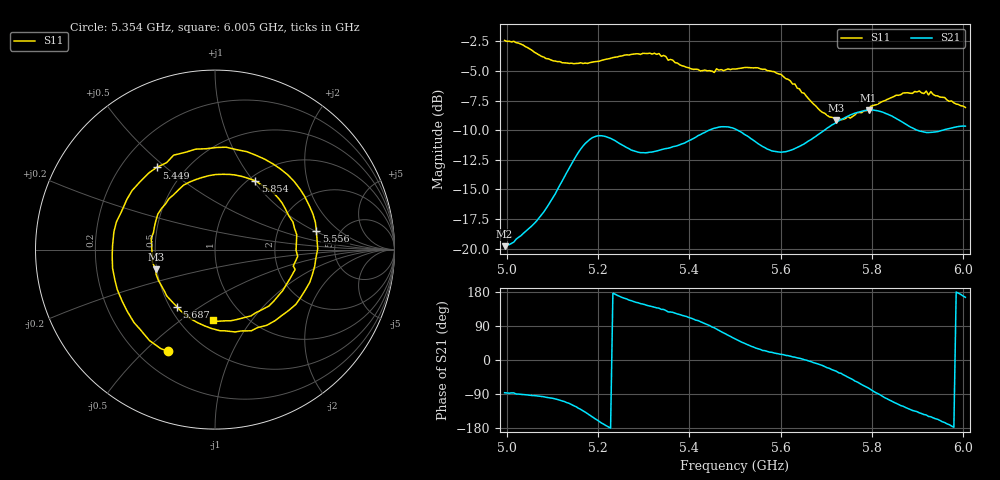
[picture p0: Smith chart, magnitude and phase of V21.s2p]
!File created by NanoVNA
# Hz S RI R 50
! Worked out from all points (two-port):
!   201 points, 4.995 GHz to 6.005 GHz, reference 50 ohm
!   highest |S21| = -8.29 dB at 5.793 GHz (marker M1); lowest = -19.8 dB at 4.995 GHz (marker M2)
!   |S21| within 3 dB of the highest: 5.375 GHz to 5.557 GHz (182.4 MHz wide, 3.34 % of centre); 5.645 GHz to end of sweep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
!   lowest |S11| = -9.2 dB at 5.722 GHz (marker M3), VSWR 2.07, Z = 24.6 - j6.14 ohm
!   |S11| at or under -10 dB: nowhere
!   S12 and S22 are empty: the file has one direction only
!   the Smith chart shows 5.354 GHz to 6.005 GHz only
!   S11 on the Smith chart (normalised r, x): 5.354 GHz: 0.32, -0.59; 5.449 GHz: 0.35, +0.47; 5.556 GHz: 3.35, +1.03; 5.687 GHz: 0.54, -0.40; 5.854 GHz: 1.07, +1.02; 6.005 GHz: 0.72, -0.67
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4.995e9  0.2168 -0.7247  0.00649 -0.1023  0 0  0 0
5.03035e9  -0.3105 -0.6609  -0.00117 -0.1133  0 0  0 0
5.0758e9  -0.6435 -0.0813  -0.0155 -0.1381  0 0  0 0
5.1263e9  -0.3462 0.5006  -0.068 -0.1898  0 0  0 0
5.1667e9  0.118 0.5932  -0.1884 -0.1947  0 0  0 0
5.2172e9  0.5581 0.2927  -0.2948 -0.0361  0 0  0 0
5.2576e9  0.6452 -0.1168  -0.2585 0.0796  0 0  0 0
5.33335e9  0.0288 -0.6656  -0.1898 0.1779  0 0  0 0
5.35355e9  -0.2622 -0.5664  -0.1591 0.2125  0 0  0 0
5.399e9  -0.5707 -0.1034  -0.107 0.265  0 0  0 0
5.4495e9  -0.3253 0.4578  0.0162 0.3196  0 0  0 0
5.5e9  0.2246 0.5271  0.1796 0.2652  0 0  0 0
5.55555e9  0.565 0.1029  0.242 0.1281  0 0  0 0
5.6212e9  0.2883 -0.4219  0.2562 0.0457  0 0  0 0
5.6717e9  -0.1371 -0.3848  0.2914 -0.0345  0 0  0 0
5.68685e9  -0.2127 -0.3175  0.3 -0.0669  0 0  0 0
5.7222e9  -0.3307 -0.1095  0.2962 -0.1689  0 0  0 0
5.7929e9  -0.2023 0.3339  0.1046 -0.3706  0 0  0 0
5.83835e9  0.1119 0.4158  -0.0991 -0.3531  0 0  0 0
5.8535e9  0.2242 0.3837  -0.146 -0.3224  0 0  0 0
5.92925e9  0.4467 -0.1105  -0.2674 -0.1561  0 0  0 0
6.005e9  -0.0109 -0.3944  -0.3185 0.0826  0 0  0 0
